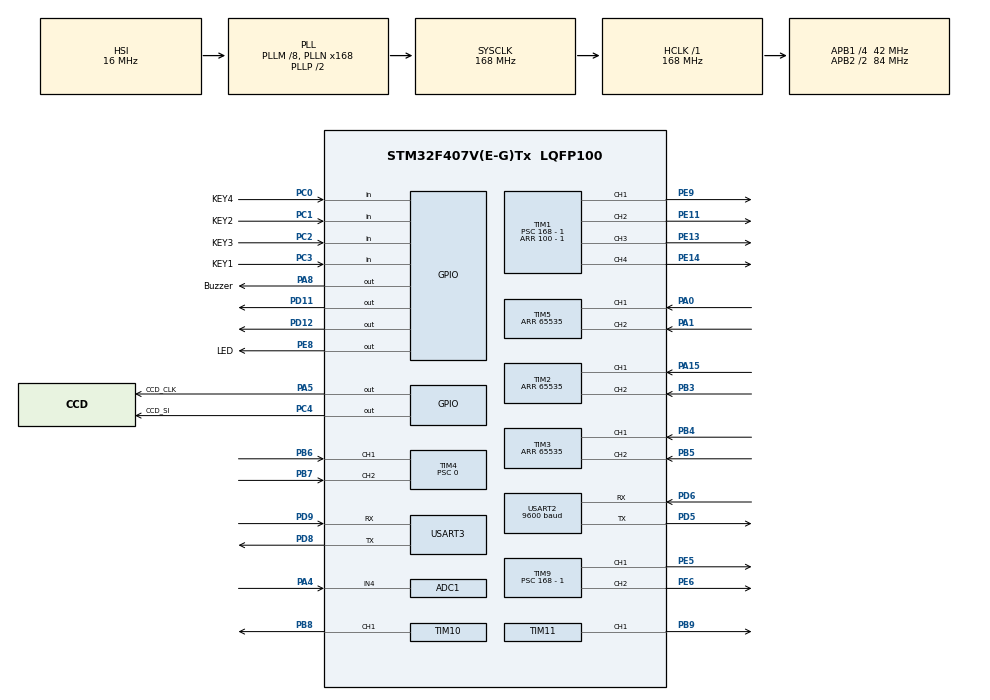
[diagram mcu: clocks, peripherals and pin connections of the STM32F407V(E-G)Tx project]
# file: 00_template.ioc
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ADC1.Channel-0\#ChannelRegularConversion=ADC_CHANNEL_4
ADC1.NbrOfConversionFlag=1
ADC1.Rank-0\#ChannelRegularConversion=1
ADC1.SamplingTime-0\#ChannelRegularConversion=ADC_SAMPLETIME_3CYCLES
ADC1.master=1
Dma.Request0=USART3_RX
Dma.Request1=USART3_TX
Dma.Request2=USART2_RX
Dma.Request3=USART2_TX
Dma.USART2_RX.2.Direction=DMA_PERIPH_TO_MEMORY
Dma.USART2_RX.2.FIFOMode=DMA_FIFOMODE_DISABLE
Dma.USART2_RX.2.Instance=DMA1_Stream5
Dma.USART2_RX.2.MemDataAlignment=DMA_MDATAALIGN_BYTE
Dma.USART2_RX.2.MemInc=DMA_MINC_ENABLE
Dma.USART2_RX.2.Mode=DMA_NORMAL
Dma.USART2_RX.2.PeriphDataAlignment=DMA_PDATAALIGN_BYTE
Dma.USART2_RX.2.PeriphInc=DMA_PINC_DISABLE
Dma.USART2_RX.2.Priority=DMA_PRIORITY_LOW
Dma.USART2_TX.3.Direction=DMA_MEMORY_TO_PERIPH
Dma.USART2_TX.3.FIFOMode=DMA_FIFOMODE_DISABLE
Dma.USART2_TX.3.Instance=DMA1_Stream6
Dma.USART2_TX.3.MemDataAlignment=DMA_MDATAALIGN_BYTE
Dma.USART2_TX.3.MemInc=DMA_MINC_ENABLE
Dma.USART2_TX.3.Mode=DMA_NORMAL
Dma.USART2_TX.3.PeriphDataAlignment=DMA_PDATAALIGN_BYTE
Dma.USART2_TX.3.PeriphInc=DMA_PINC_DISABLE
Dma.USART2_TX.3.Priority=DMA_PRIORITY_LOW
Dma.USART3_RX.0.Direction=DMA_PERIPH_TO_MEMORY
Dma.USART3_RX.0.FIFOMode=DMA_FIFOMODE_DISABLE
Dma.USART3_RX.0.Instance=DMA1_Stream1
Dma.USART3_RX.0.MemDataAlignment=DMA_MDATAALIGN_BYTE
Dma.USART3_RX.0.MemInc=DMA_MINC_ENABLE
Dma.USART3_RX.0.Mode=DMA_NORMAL
Dma.USART3_RX.0.PeriphDataAlignment=DMA_PDATAALIGN_BYTE
Dma.USART3_RX.0.PeriphInc=DMA_PINC_DISABLE
Dma.USART3_RX.0.Priority=DMA_PRIORITY_LOW
Dma.USART3_TX.1.Direction=DMA_MEMORY_TO_PERIPH
Dma.USART3_TX.1.FIFOMode=DMA_FIFOMODE_DISABLE
Dma.USART3_TX.1.Instance=DMA1_Stream3
Dma.USART3_TX.1.MemDataAlignment=DMA_MDATAALIGN_BYTE
Dma.USART3_TX.1.MemInc=DMA_MINC_ENABLE
Dma.USART3_TX.1.Mode=DMA_NORMAL
Dma.USART3_TX.1.PeriphDataAlignment=DMA_PDATAALIGN_BYTE
Dma.USART3_TX.1.PeriphInc=DMA_PINC_DISABLE
Dma.USART3_TX.1.Priority=DMA_PRIORITY_LOW
Mcu.Family=STM32F4
Mcu.Name=STM32F407V(E-G)Tx
Mcu.Package=LQFP100
NVIC.DMA1_Stream1_IRQn=true\:0\:0\:false\:false\:true\:false\:true\:true
NVIC.DMA1_Stream3_IRQn=true\:0\:0\:false\:false\:true\:false\:true\:true
NVIC.DMA1_Stream5_IRQn=true\:0\:0\:false\:false\:true\:false\:true\:true
NVIC.DMA1_Stream6_IRQn=true\:0\:0\:false\:false\:true\:false\:true\:true
NVIC.PriorityGroup=NVIC_PRIORITYGROUP_4
NVIC.TIM7_IRQn=true\:0\:0\:false\:false\:true\:true\:true\:true
NVIC.USART2_IRQn=true\:0\:0\:false\:false\:true\:true\:true\:true
NVIC.USART3_IRQn=true\:0\:0\:false\:false\:true\:true\:true\:true
PA0-WKUP.Signal=S_TIM5_CH1
PA1.Signal=S_TIM5_CH2
PA13.Mode=Serial_Wire
PA13.Signal=SYS_JTMS-SWDIO
PA14.Mode=Serial_Wire
PA14.Signal=SYS_JTCK-SWCLK
PA15.Signal=S_TIM2_CH1_ETR
PA4.Signal=ADCx_IN4
PA5.GPIO_Label=CCD_CLK
PA5.Signal=GPIO_Output
PA8.GPIO_Label=Buzzer
PA8.Signal=GPIO_Output
PB3.Signal=S_TIM2_CH2
PB4.Signal=S_TIM3_CH1
PB5.Signal=S_TIM3_CH2
PB6.Signal=S_TIM4_CH1
PB7.Signal=S_TIM4_CH2
PB8.Signal=S_TIM10_CH1
PB9.Signal=S_TIM11_CH1
PC0.GPIO_Label=KEY4
PC0.GPIO_PuPd=GPIO_PULLUP
PC0.Signal=GPIO_Input
PC1.GPIO_Label=KEY2
PC1.GPIO_PuPd=GPIO_PULLUP
PC1.Signal=GPIO_Input
PC2.GPIO_Label=KEY3
PC2.GPIO_PuPd=GPIO_PULLUP
PC2.Signal=GPIO_Input
PC3.GPIO_Label=KEY1
PC3.GPIO_PuPd=GPIO_PULLUP
PC3.Signal=GPIO_Input
PC4.GPIO_Label=CCD_SI
PC4.Signal=GPIO_Output
PD11.GPIO_ModeDefaultOutputPP=GPIO_MODE_OUTPUT_OD
PD11.GPIO_PuPd=GPIO_PULLUP
PD11.PinState=GPIO_PIN_SET
PD11.Signal=GPIO_Output
PD12.GPIO_ModeDefaultOutputPP=GPIO_MODE_OUTPUT_OD
PD12.GPIO_PuPd=GPIO_PULLUP
PD12.PinState=GPIO_PIN_SET
PD12.Signal=GPIO_Output
PD5.Mode=Asynchronous
PD5.Signal=USART2_TX
PD6.Mode=Asynchronous
PD6.Signal=USART2_RX
PD8.Mode=Asynchronous
PD8.Signal=USART3_TX
PD9.Mode=Asynchronous
PD9.Signal=USART3_RX
PE11.Signal=S_TIM1_CH2
PE13.Signal=S_TIM1_CH3
PE14.Signal=S_TIM1_CH4
PE5.Signal=S_TIM9_CH1
PE6.Signal=S_TIM9_CH2
PE8.GPIO_Label=LED
PE8.PinState=GPIO_PIN_SET
PE8.Signal=GPIO_Output
PE9.Signal=S_TIM1_CH1
PH0-OSC_IN.Mode=HSE-External-Oscillator
PH0-OSC_IN.Signal=RCC_OSC_IN
PH1-OSC_OUT.Mode=HSE-External-Oscillator
PH1-OSC_OUT.Signal=RCC_OSC_OUT
ProjectManager.HeapSize=0x200
ProjectManager.StackSize=0x400
ProjectManager.TargetToolchain=MDK-ARM V5.32
RCC.48MHZClocksFreq_Value=84000000
RCC.AHBFreq_Value=168000000
RCC.APB1CLKDivider=RCC_HCLK_DIV4
RCC.APB1Freq_Value=42000000
RCC.APB1TimFreq_Value=84000000
RCC.APB2CLKDivider=RCC_HCLK_DIV2
RCC.APB2Freq_Value=84000000
RCC.APB2TimFreq_Value=168000000
RCC.CortexFreq_Value=168000000
RCC.HCLKFreq_Value=168000000
RCC.HSE_VALUE=25000000
RCC.HSI_VALUE=16000000
RCC.LSE_VALUE=32768
RCC.PLLM=8
RCC.PLLN=168
RCC.SYSCLKFreq_VALUE=168000000
RCC.SYSCLKSource=RCC_SYSCLKSOURCE_PLLCLK
RCC.VCOOutputFreq_Value=336000000
SH.ADCx_IN4.0=ADC1_IN4,IN4
SH.S_TIM10_CH1.0=TIM10_CH1,PWM Generation1 CH1
SH.S_TIM11_CH1.0=TIM11_CH1,PWM Generation1 CH1
SH.S_TIM1_CH1.0=TIM1_CH1,PWM Generation1 CH1
SH.S_TIM1_CH2.0=TIM1_CH2,PWM Generation2 CH2
SH.S_TIM1_CH3.0=TIM1_CH3,PWM Generation3 CH3
SH.S_TIM1_CH4.0=TIM1_CH4,PWM Generation4 CH4
SH.S_TIM2_CH1_ETR.0=TIM2_CH1,Encoder_Interface
SH.S_TIM2_CH2.0=TIM2_CH2,Encoder_Interface
SH.S_TIM3_CH1.0=TIM3_CH1,Encoder_Interface
SH.S_TIM3_CH2.0=TIM3_CH2,Encoder_Interface
SH.S_TIM4_CH1.0=TIM4_CH1,Encoder_Interface
SH.S_TIM4_CH2.0=TIM4_CH2,Encoder_Interface
SH.S_TIM5_CH1.0=TIM5_CH1,Encoder_Interface
SH.S_TIM5_CH2.0=TIM5_CH2,Encoder_Interface
SH.S_TIM9_CH1.0=TIM9_CH1,PWM Generation1 CH1
SH.S_TIM9_CH2.0=TIM9_CH2,PWM Generation2 CH2
TIM1.Channel-PWM\ Generation1\ CH1=TIM_CHANNEL_1
TIM1.Channel-PWM\ Generation2\ CH2=TIM_CHANNEL_2
TIM1.Channel-PWM\ Generation3\ CH3=TIM_CHANNEL_3
TIM1.Channel-PWM\ Generation4\ CH4=TIM_CHANNEL_4
TIM1.Period=100 - 1
TIM1.Prescaler=168 - 1
TIM1.Pulse-PWM\ Generation3\ CH3=0
TIM10.Channel=TIM_CHANNEL_1
TIM10.Period=100 - 1
TIM10.Prescaler=168 - 1
TIM11.Channel=TIM_CHANNEL_1
TIM11.Period=100 - 1
TIM11.Prescaler=168 - 1
TIM2.EncoderMode=TIM_ENCODERMODE_TI12
TIM2.IC1Polarity=TIM_ICPOLARITY_FALLING
TIM2.Period=65535
TIM3.EncoderMode=TIM_ENCODERMODE_TI12
TIM3.Period=65535
TIM4.EncoderMode=TIM_ENCODERMODE_TI12
TIM4.Period=65535
TIM4.Prescaler=0
TIM5.EncoderMode=TIM_ENCODERMODE_TI12
TIM5.Period=65535
TIM7.Period=10000 - 1
TIM7.Prescaler=84 - 1
TIM9.Channel-PWM\ Generation1\ CH1=TIM_CHANNEL_1
TIM9.Channel-PWM\ Generation2\ CH2=TIM_CHANNEL_2
TIM9.Period=100 - 1
TIM9.Prescaler=168 - 1
TIM9.Pulse-PWM\ Generation1\ CH1=0
USART2.BaudRate=9600
USART2.VirtualMode=VM_ASYNC
USART3.VirtualMode=VM_ASYNC
VP_TIM10_VS_ClockSourceINT.Mode=Enable_Timer
VP_TIM11_VS_ClockSourceINT.Mode=Enable_Timer
VP_TIM1_VS_ClockSourceINT.Mode=Internal
VP_TIM7_VS_ClockSourceINT.Mode=Enable_Timer
VP_TIM9_VS_ClockSourceINT.Mode=Internal
board=custom

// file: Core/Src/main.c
/* USER CODE BEGIN Header */
/**
  ******************************************************************************
  * @file           : main.c
  * @brief          : Main program body
  ******************************************************************************
  * @attention
  *
  * Copyright (c) 2026 STMicroelectronics.
  * All rights reserved.
  *
  * This software is licensed under terms that can be found in the LICENSE file
  * in the root directory of this software component.
  * If no LICENSE file comes with this software, it is provided AS-IS.
  *
  ******************************************************************************
  */
/* USER CODE END Header */
#include "main.h"
#include "adc.h"
#include "dma.h"
#include "tim.h"
#include "usart.h"
#include "gpio.h"

/* USER CODE BEGIN Includes */
#include "bsp_system.h"
/* USER CODE END Includes */

void SystemClock_Config(void);

/* USER CODE BEGIN 0 */
static int uart3_putc(int ch)
{
  uint8_t c = (uint8_t)ch;
  HAL_UART_Transmit(&huart3, &c, 1, HAL_MAX_DELAY);
  return ch;
}

int fputc(int ch, FILE *f)
{
  (void)f;
  return uart3_putc(ch);
}

int __io_putchar(int ch)
{
  return uart3_putc(ch);
}

void HAL_UARTEx_RxEventCallback(UART_HandleTypeDef *huart, uint16_t Size)
{
	if(huart == &huart2)
	{
		HAL_UART_Transmit_DMA(&huart2,receiveData,Size);

		if(receiveData[0] == 0xAA)
		{
			if(receiveData[1] == Size)
			{
				uint8_t sum = 0;
				for(int i = 0;i < Size - 1;i++)
				{
					sum += receiveData[i];
				}

				if(sum == receiveData[Size - 1])
				{
					for(int i = 2;i < Size - 1;i += 1)
					{
						if(receiveData[i] == 0x01)
						{
							Motor_forward(50);
						}
						else if(receiveData[i] == 0x02)
						{
							Motor_backward(50);
						}
						else if(receiveData[i] == 0x03)
						{
							Motor_Coast();
						}
						else if(receiveData[i] == 0x04)
						{
							Motor_brake();
						}
					}
				}
			}
		}

		HAL_UARTEx_ReceiveToIdle_DMA(&huart2,receiveData,sizeof(receiveData));
		__HAL_DMA_DISABLE_IT(&hdma_usart2_rx,DMA_IT_HT);
	}
}
/* USER CODE END 0 */

int main(void)
{

  /* MCU Configuration--------------------------------------------------------*/

  /* Reset of all peripherals, Initializes the Flash interface and the Systick. */
  HAL_Init();

  /* Configure the system clock */
  SystemClock_Config();

  /* Initialize all configured peripherals */
  MX_GPIO_Init();
  MX_DMA_Init();
  MX_USART3_UART_Init();
  MX_TIM4_Init();
  MX_TIM1_Init();
  MX_TIM9_Init();
  MX_USART2_UART_Init();
  MX_TIM2_Init();
  MX_TIM3_Init();
  MX_TIM5_Init();
  MX_TIM7_Init();
  MX_TIM10_Init();
  MX_TIM11_Init();
  MX_ADC1_Init();
  /* USER CODE BEGIN 2 */
	OLED_Init();
	OLED_NewFrame();
	OLED_DrawImage(0,0,&user_Img,OLED_COLOR_NORMAL);
	OLED_ShowFrame();
	HAL_Delay(1000);

	HAL_UARTEx_ReceiveToIdle_DMA(&huart2,receiveData,sizeof(receiveData));
	__HAL_DMA_DISABLE_IT(&hdma_usart2_rx,DMA_IT_HT);

	Encoder_Init();
	PT1Filter_InitWithFreq(&motor_pt1,5,100);
	PT1Filter_InitWithFreq(&motor_pt2,5,100);
	PT1Filter_InitWithFreq(&motor_pt3,5,100);
	PT1Filter_InitWithFreq(&motor_pt4,5,100);

	PID_init(&motor_pid1, 1.2f, 0.0f, 0.0f, 0.01f, 50.0f);
	PID_init(&motor_pid4, 1.2f, 0.0f, 0.0f, 0.01f, 50.0f);

	Motor_Init();
	CCD_Init();
	LineFollow_Init();
	Motor_SetLR(0, 0);

	/* start TIM7 after motor/PID ready */
	HAL_TIM_Base_Start_IT(&htim7);
  /* USER CODE END 2 */

  /* Infinite loop */
  /* USER CODE BEGIN WHILE */
  while (1)
  {
		loop();

		/* CCD in main loop so TIM7 speed loop stays short */
		if (CCD_ReadFrame() == HAL_OK)
		{
			CCD_ProcessFrame();
			LineFollow_Update();
		}

		printf("%u,%u,%u,%.1f,%u,%u\r\n",
			(unsigned)CCD_LineValid,
			(unsigned)CCD_Center,
			(unsigned)line_vL,
			(double)line_wz,
			(unsigned)line_vR,
			(unsigned)motor_cmd_L);
		HAL_Delay(20);
    /* USER CODE END WHILE */

  }
}

void SystemClock_Config(void)
{
  RCC_OscInitTypeDef RCC_OscInitStruct = {0};
  RCC_ClkInitTypeDef RCC_ClkInitStruct = {0};

  /** Configure the main internal regulator output voltage
  */
  __HAL_RCC_PWR_CLK_ENABLE();
  __HAL_PWR_VOLTAGESCALING_CONFIG(PWR_REGULATOR_VOLTAGE_SCALE1);

  /** Initializes the RCC Oscillators according to the specified parameters
  * in the RCC_OscInitTypeDef structure.
  */
  RCC_OscInitStruct.OscillatorType = RCC_OSCILLATORTYPE_HSI;
  RCC_OscInitStruct.HSIState = RCC_HSI_ON;
  RCC_OscInitStruct.HSICalibrationValue = RCC_HSICALIBRATION_DEFAULT;
  RCC_OscInitStruct.PLL.PLLState = RCC_PLL_ON;
  RCC_OscInitStruct.PLL.PLLSource = RCC_PLLSOURCE_HSI;
  RCC_OscInitStruct.PLL.PLLM = 8;
  RCC_OscInitStruct.PLL.PLLN = 168;
  RCC_OscInitStruct.PLL.PLLP = RCC_PLLP_DIV2;
  RCC_OscInitStruct.PLL.PLLQ = 4;
  if (HAL_RCC_OscConfig(&RCC_OscInitStruct) != HAL_OK)
  {
    Error_Handler();
  }

  /** Initializes the CPU, AHB and APB buses clocks
  */
  RCC_ClkInitStruct.ClockType = RCC_CLOCKTYPE_HCLK|RCC_CLOCKTYPE_SYSCLK
                              |RCC_CLOCKTYPE_PCLK1|RCC_CLOCKTYPE_PCLK2;
  RCC_ClkInitStruct.SYSCLKSource = RCC_SYSCLKSOURCE_PLLCLK;
  RCC_ClkInitStruct.AHBCLKDivider = RCC_SYSCLK_DIV1;
  RCC_ClkInitStruct.APB1CLKDivider = RCC_HCLK_DIV4;
  RCC_ClkInitStruct.APB2CLKDivider = RCC_HCLK_DIV2;

  if (HAL_RCC_ClockConfig(&RCC_ClkInitStruct, FLASH_LATENCY_5) != HAL_OK)
  {
    Error_Handler();
  }
}

void Error_Handler(void)
{
  __disable_irq();
  while (1)
  {
  }
}
